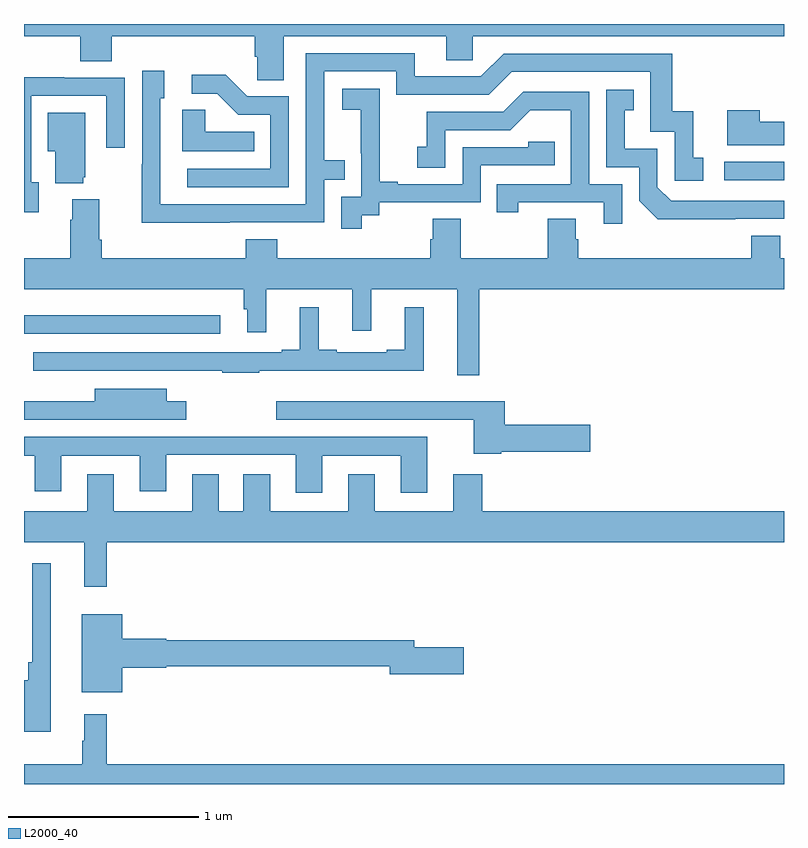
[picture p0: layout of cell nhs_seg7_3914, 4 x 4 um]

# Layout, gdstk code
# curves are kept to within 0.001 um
import gdstk
lib = gdstk.Library(unit=1e-6, precision=1e-09)
def R(c, l, rs):  # rectangles x0, y0, x1, y1
    for r in rs: c.add(gdstk.rectangle(r[:2], r[2:], *l))
def P(c, l, *ps):  # polygons
    for p in ps: c.add(gdstk.Polygon(p, *l))
L2000_40 = (2000, 40)

nhs_seg7_3914 = lib.new_cell('nhs_seg7_3914')
R(nhs_seg7_3914, L2000_40, [(359,1012.371,360.034,1012.468), (362.685,1013.178,363,1013.274)])
P(nhs_seg7_3914, L2000_40, [(360.367,1013.936),(361.223,1013.936),(361.223,1013.809),(361.362,1013.809),(361.362,1013.936),(363,1013.936),(363,1014),(359,1014),(359,1013.936),(359.297,1013.936),(359.297,1013.803),(359.462,1013.803),(359.462,1013.936),(360.215,1013.936),(360.215,1013.827),(360.228,1013.827),(360.228,1013.704),(360.367,1013.704)],
  [(360.083,1012.956),(360.579,1012.956),(360.579,1013.181),(360.689,1013.181),(360.689,1013.282),(360.579,1013.282),(360.579,1013.751),(360.96,1013.751),(360.96,1013.628),(361.446,1013.628),(361.566,1013.748),(362.295,1013.748),(362.295,1013.433),(362.424,1013.433),(362.424,1013.175),(362.575,1013.175),(362.575,1013.295),(362.522,1013.295),(362.522,1013.542),(362.411,1013.542),(362.411,1013.844),(361.524,1013.844),(361.404,1013.724),(361.057,1013.724),(361.057,1013.847),(360.483,1013.847),(360.483,1013.052),(359.718,1013.052),(359.718,1013.61),(359.737,1013.61),(359.737,1013.755),(359.622,1013.755),(359.622,1013.261),(359.62,1013.261),(359.62,1012.955)],
  [(360.393,1013.619),(360.174,1013.619),(360.061,1013.732),(359.883,1013.732),(359.883,1013.634),(360.017,1013.634),(360.128,1013.523),(360.297,1013.523),(360.297,1013.238),(359.859,1013.238),(359.859,1013.142),(360.393,1013.142)],
  [(359.077,1013.166),(359.037,1013.166),(359.037,1013.622),(359.433,1013.622),(359.433,1013.349),(359.529,1013.349),(359.529,1013.718),(359.213,1013.718),(359.213,1013.72),(359,1013.72),(359,1013.01),(359.077,1013.01)],
  [(360.778,1012.993),(360.87,1012.993),(360.87,1013.061),(361.404,1013.061),(361.404,1013.256),(361.793,1013.256),(361.793,1013.379),(361.653,1013.379),(361.653,1013.352),(361.308,1013.352),(361.308,1013.157),(360.967,1013.157),(360.967,1013.17),(360.872,1013.17),(360.872,1013.453),(360.873,1013.453),(360.873,1013.659),(360.675,1013.659),(360.675,1013.549),(360.773,1013.549),(360.773,1013.321),(360.774,1013.321),(360.774,1013.091),(360.669,1013.091),(360.669,1012.923),(360.778,1012.923)],
  [(362.744,1012.974),(363,1012.974),(363,1013.07),(362.406,1013.07),(362.334,1013.142),(362.334,1013.343),(362.161,1013.343),(362.161,1013.547),(362.21,1013.547),(362.21,1013.653),(362.064,1013.653),(362.064,1013.247),(362.238,1013.247),(362.238,1013.07),(362.336,1012.973)],
  [(362.148,1013.157),(361.974,1013.157),(361.974,1013.643),(361.628,1013.643),(361.523,1013.538),(361.12,1013.538),(361.12,1013.353),(361.071,1013.353),(361.071,1013.244),(361.218,1013.244),(361.218,1013.442),(361.56,1013.442),(361.664,1013.546),(361.878,1013.546),(361.878,1013.157),(361.489,1013.157),(361.489,1013.01),(361.6,1013.01),(361.6,1013.061),(362.051,1013.061),(362.051,1012.95),(362.148,1012.95)],
  [(360.212,1013.434),(359.955,1013.434),(359.955,1013.549),(359.834,1013.549),(359.834,1013.33),(360.212,1013.33)],
  [(363,1013.485),(362.873,1013.485),(362.873,1013.545),(362.702,1013.545),(362.702,1013.363),(363,1013.363)],
  [(359.312,1013.193),(359.323,1013.193),(359.323,1013.533),(359.126,1013.533),(359.126,1013.33),(359.165,1013.33),(359.165,1013.162),(359.312,1013.162)],
  [(362.828,1012.885),(362.828,1012.768),(361.916,1012.768),(361.916,1012.866),(361.903,1012.866),(361.903,1012.976),(361.756,1012.976),(361.756,1012.768),(361.299,1012.768),(361.299,1012.976),(361.151,1012.976),(361.151,1012.866),(361.139,1012.866),(361.139,1012.768),(360.332,1012.768),(360.332,1012.867),(360.167,1012.867),(360.167,1012.768),(359.408,1012.768),(359.408,1012.864),(359.395,1012.864),(359.395,1013.077),(359.255,1013.077),(359.255,1012.97),(359.243,1012.97),(359.243,1012.768),(359,1012.768),(359,1012.604),(360.157,1012.604),(360.157,1012.499),(360.176,1012.499),(360.176,1012.377),(360.275,1012.377),(360.275,1012.604),(360.728,1012.604),(360.728,1012.386),(360.827,1012.386),(360.827,1012.604),(361.28,1012.604),(361.28,1012.152),(361.397,1012.152),(361.397,1012.604),(363,1012.604),(363,1012.768),(362.98,1012.768),(362.98,1012.885)],
  [(360.239,1012.175),(361.103,1012.175),(361.103,1012.51),(361.004,1012.51),(361.004,1012.285),(360.908,1012.285),(360.908,1012.272),(360.646,1012.272),(360.646,1012.285),(360.551,1012.285),(360.551,1012.51),(360.452,1012.51),(360.452,1012.285),(360.356,1012.285),(360.356,1012.272),(359.049,1012.272),(359.049,1012.175),(359.276,1012.175),(359.276,1012.176),(359.848,1012.176),(359.848,1012.175),(360.044,1012.175),(360.044,1012.164),(360.239,1012.164)],
  [(359.854,1012.015),(359.752,1012.015),(359.752,1012.081),(359.372,1012.081),(359.372,1012.015),(359,1012.015),(359,1011.918),(359.476,1011.918),(359.476,1011.917),(359.854,1011.917)],
  [(361.512,1011.748),(361.981,1011.748),(361.981,1011.89),(361.529,1011.89),(361.529,1012.015),(360.327,1012.015),(360.327,1011.918),(361.367,1011.918),(361.367,1011.737),(361.512,1011.737)],
  [(360.571,1011.727),(360.983,1011.727),(360.983,1011.534),(361.123,1011.534),(361.123,1011.828),(359,1011.828),(359,1011.727),(359.057,1011.727),(359.057,1011.54),(359.197,1011.54),(359.197,1011.727),(359.609,1011.727),(359.609,1011.54),(359.749,1011.54),(359.749,1011.732),(360.431,1011.732),(360.431,1011.534),(360.571,1011.534)],
  [(359.435,1011.272),(363,1011.272),(363,1011.436),(361.412,1011.436),(361.412,1011.631),(361.259,1011.631),(361.259,1011.436),(360.847,1011.436),(360.847,1011.631),(360.707,1011.631),(360.707,1011.436),(360.295,1011.436),(360.295,1011.631),(360.155,1011.631),(360.155,1011.436),(360.025,1011.436),(360.025,1011.631),(359.885,1011.631),(359.885,1011.436),(359.473,1011.436),(359.473,1011.631),(359.333,1011.631),(359.333,1011.436),(359,1011.436),(359,1011.272),(359.318,1011.272),(359.318,1011.039),(359.435,1011.039)],
  [(359.14,1011.163),(359.043,1011.163),(359.043,1010.641),(359.023,1010.641),(359.023,1010.545),(359,1010.545),(359,1010.276),(359.14,1010.276)],
  [(359.518,1010.612),(359.748,1010.612),(359.748,1010.62),(360.926,1010.62),(360.926,1010.578),(361.315,1010.578),(361.315,1010.72),(361.054,1010.72),(361.054,1010.756),(359.748,1010.756),(359.748,1010.764),(359.518,1010.764),(359.518,1010.893),(359.303,1010.893),(359.303,1010.483),(359.518,1010.483)],
  [(359.435,1010.368),(359.318,1010.368),(359.318,1010.228),(359.307,1010.228),(359.307,1010.104),(359,1010.104),(359,1010),(363,1010),(363,1010.104),(359.435,1010.104)])

lib.write_gds('nhs_seg7_3914.gds')
